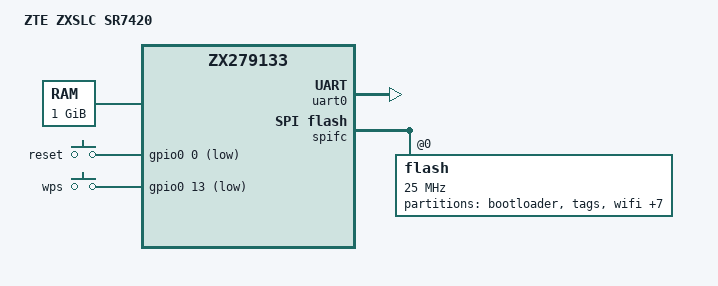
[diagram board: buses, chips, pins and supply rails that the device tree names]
// SPDX-License-Identifier: GPL-2.0-only OR BSD-2-Clause
/dts-v1/;

#include <dt-bindings/gpio/gpio.h>
#include <dt-bindings/input/input.h>
#include "zte/zx279133.dtsi"

/* Initial serial-console/RAM-root board, derived from SR7420 stock evidence. */
/ {
	model = "ZTE ZXSLC SR7420";
	compatible = "zte,zx279133-sr7420", "zte,zx279133";

	aliases {
		serial0 = &uart0;
	};

	chosen {
		stdout-path = "serial0:115200n8";
	};

	memory@80000000 {
		device_type = "memory";
		reg = <0x0 0x80000000 0x0 0x40000000>;
	};

	gpio-keys {
		compatible = "gpio-keys";

		button-reset {
			label = "reset";
			gpios = <&gpio0 0 GPIO_ACTIVE_LOW>;
			linux,code = <KEY_RESTART>;
			debounce-interval = <50>;
		};

		button-wps {
			label = "wps";
			gpios = <&gpio0 13 GPIO_ACTIVE_LOW>;
			linux,code = <KEY_WPS_BUTTON>;
			debounce-interval = <50>;
		};
	};
};

/* Vendor OPP/voltage tables have not been validated on this board. */
&{/cpus/cpu@0} {
	/delete-property/ operating-points-v2;
	/delete-property/ cpu-supply;
};

&{/cpus/cpu@1} {
	/delete-property/ operating-points-v2;
	/delete-property/ cpu-supply;
};

&{/soc} {
	/delete-node/ regulator-cpu;
};

&uart0 {
	status = "okay";
};

/* Own map replaces the SR1010 partitions supplied by the common DTSI. */
&spifc {
	status = "okay";
	spi-max-frequency = <25000000>;

	flash@0 {
		spi-max-frequency = <25000000>;
		partitions-only;
		/delete-node/ partitions;

		partitions {
			compatible = "fixed-partitions";
			#address-cells = <1>;
			#size-cells = <1>;

			partition@0 {
				label = "bootloader";
				reg = <0x00000000 0x00100000>;
				read-only;
			};

			partition@100000 {
				label = "tags";
				reg = <0x00100000 0x00100000>;
				read-only;
			};

			partition@200000 {
				label = "wifi";
				reg = <0x00200000 0x00200000>;
				read-only;
			};

			partition@400000 {
				label = "usercfg";
				reg = <0x00400000 0x00200000>;
				read-only;
			};

			partition@600000 {
				label = "defcfg";
				reg = <0x00600000 0x00200000>;
				read-only;
			};

			partition@800000 {
				label = "firmware-slot1";
				reg = <0x00800000 0x05000000>;
				read-only;
			};

			partition@5800000 {
				label = "firmware-slot2";
				reg = <0x05800000 0x05000000>;
				read-only;
			};

			partition@b500000 {
				label = "DPIPlugin";
				reg = <0x0b500000 0x00300000>;
				read-only;
			};

			partition@ba00000 {
				label = "status";
				reg = <0x0ba00000 0x00500000>;
				read-only;
			};

			partition@c000000 {
				label = "Plugin";
				reg = <0x0c000000 0x04000000>;
				read-only;
			};
		};
	};
};

/* SR1010 CPU PWM pinmux conflicts with the SR7420 WPS GPIO. */
&pwm {
	status = "disabled";
};
